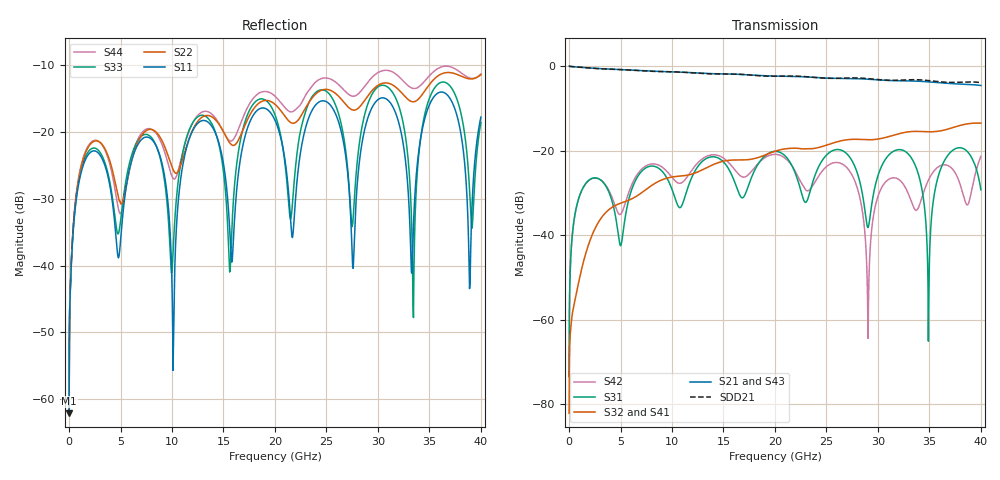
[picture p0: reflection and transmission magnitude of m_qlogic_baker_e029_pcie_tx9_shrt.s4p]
! freq	real(S11)	imag(S11)	real(S12)	imag(S12)	real(S13)	imag(S13)
!  real(S14)	imag(S14)
!  real(S21)	imag(S21)	real(S22)	imag(S22)	real(S23)	imag(S23)
!  real(S24)	imag(S24)
!  real(S31)	imag(S31)	real(S32)	imag(S32)	real(S33)	imag(S33)
!  real(S34)	imag(S34)
!  real(S41)	imag(S41)	real(S42)	imag(S42)	real(S43)	imag(S43)
!  real(S44)	imag(S44)
!port1: p1  port2: p2  port3: p3  port4: p4
#  MHz  S  RI  R 50
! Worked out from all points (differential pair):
!   8000 points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, 5 MHz to 40 GHz, reference 50 ohm
!   strongest paths, dB at 5 MHz, 10.01 GHz, 20 GHz, 30 GHz, 40 GHz:
!     S21: 0.0, -1.3, -2.4, -3.3, -4.6
!     S43: 0.0, -1.3, -2.4, -3.4, -4.7
!     S32: -82.2, -26.2, -20.1, -17.3, -13.5
!     S41: -82.2, -26.2, -20.3, -17.2, -13.4
!     S31: -73.5, -29.2, -20.2, -25.9, -29.3
!     S42: -73.5, -26.3, -20.9, -30.8, -21.3
!   taken as a pair (ports 1,3 in; 2,4 out), SDD21 dB: 0.0, -1.3, -2.4, -3.2, -3.9
!   lowest |S11| = -62.1 dB at 5 MHz (marker M1), VSWR 1.00, Z = 50.1 + j0.00126 ohm
!   |S11| at or under -10 dB: start of sweep to end of sweep
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5  0.000783 1.25e-05  0.9992 -0.00328  0.000212 2.85e-05  -9.73e-05 -8.72e-06
   0.9992 -0.00328  0.000786 1.2e-05  -9.72e-05 -8.72e-06  0.000212 2.86e-05
   0.000211 2.88e-05  -7.77e-05 -6.23e-06  0.000781 1.05e-05  0.9992 -0.00327
   -7.77e-05 -6.23e-06  0.00021 2.89e-05  0.9992 -0.00327  0.000783 9.95e-06
2250  -0.0627 -0.0355  0.2775 -0.9054  0.0464 0.00789  -0.00858 -0.00566
      0.2775 -0.9054  -0.0652 -0.0529  -0.00838 -0.0057  0.0423 0.02
      0.0465 0.00788  -0.00837 -0.00573  -0.0646 -0.0393  0.2796 -0.9045
      -0.00856 -0.00565  0.0423 0.02  0.2796 -0.9045  -0.0684 -0.0511
8405  -0.0803 0.00343  -0.0493 0.8674  0.0645 -0.0041  0.0411 0.00655
      -0.0493 0.8675  -0.0903 -0.045  0.0407 0.00795  0.0644 0.0253
      0.0645 -0.0041  0.0407 0.00792  -0.081 -0.00218  -0.0576 0.8671
      0.0411 0.00652  0.0644 0.0254  -0.0576 0.8671  -0.0892 -0.0435
14130  -0.1012 0.0113  0.0613 -0.8109  0.0824 0.018  -0.0682 -0.0111
       0.0613 -0.8109  -0.1066 -0.0668  -0.0679 -0.0145  0.0876 0.017
       0.0824 0.018  -0.0679 -0.0145  -0.1039 0.0086  0.0744 -0.8095
       -0.0682 -0.0111  0.0876 0.017  0.0744 -0.8095  -0.1063 -0.0753
29040  -0.0129 -0.1286  -0.6828 0.1554  -0.0115 -0.00419  0.0353 0.1301
       -0.6828 0.1554  -0.1363 -0.1294  0.0252 0.1322  -0.000668 0.000363
       -0.0116 -0.00422  0.0252 0.1322  0.0162 -0.1638  -0.6806 0.1255
       0.0354 0.1302  -0.00068 0.000347  -0.6806 0.1255  -0.1875 -0.1469
34230  0.00498 -0.0975  0.659 0.0342  0.0264 -0.0262  -0.00101 -0.1684
       0.659 0.0342  -0.1485 -0.116  0.0129 -0.1679  -0.0265 0.00418
       0.0264 -0.0263  0.0129 -0.1679  0.0437 -0.0901  0.6527 0.0732
       -0.001 -0.1684  -0.0265 0.00418  0.6527 0.0732  -0.2081 -0.0918
40000  0.0154 -0.1288  -0.5894 0.0369  0.0238 -0.0253  0.0338 0.2106
       -0.5894 0.0368  -0.2448 -0.113  0.0113 0.2116  -0.0428 0.0741
       0.0235 -0.0251  0.0115 0.2113  0.0261 -0.1152  -0.5831 0.00153
       0.0339 0.2106  -0.043 0.0742  -0.5832 0.00148  -0.2678 -0.0524
